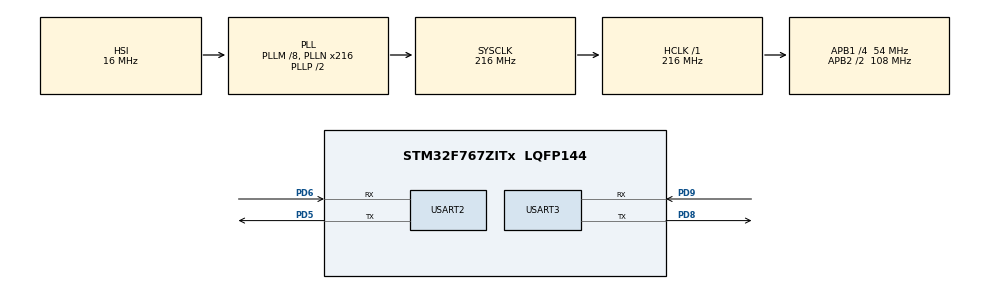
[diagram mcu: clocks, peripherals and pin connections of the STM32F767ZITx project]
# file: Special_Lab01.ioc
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CORTEX_M7.default_mode_Activation=1
Mcu.Family=STM32F7
Mcu.Name=STM32F767ZITx
Mcu.Package=LQFP144
NVIC.PriorityGroup=NVIC_PRIORITYGROUP_4
NVIC.USART2_IRQn=true\:0\:0\:false\:false\:true\:true\:true\:true
NVIC.USART3_IRQn=true\:0\:0\:false\:false\:true\:true\:true\:true
PD5.Mode=Asynchronous
PD5.Signal=USART2_TX
PD6.Mode=Asynchronous
PD6.Signal=USART2_RX
PD8.Mode=Asynchronous
PD8.Signal=USART3_TX
PD9.Mode=Asynchronous
PD9.Signal=USART3_RX
ProjectManager.HeapSize=0x200
ProjectManager.StackSize=0x400
ProjectManager.TargetToolchain=STM32CubeIDE
RCC.AHBFreq_Value=216000000
RCC.APB1CLKDivider=RCC_HCLK_DIV4
RCC.APB1Freq_Value=54000000
RCC.APB1TimFreq_Value=108000000
RCC.APB2CLKDivider=RCC_HCLK_DIV2
RCC.APB2Freq_Value=108000000
RCC.APB2TimFreq_Value=216000000
RCC.CortexFreq_Value=216000000
RCC.HCLKFreq_Value=216000000
RCC.HSE_VALUE=25000000
RCC.HSI_VALUE=16000000
RCC.LSE_VALUE=32768
RCC.PLLM=8
RCC.PLLN=216
RCC.SYSCLKFreq_VALUE=216000000
RCC.SYSCLKSource=RCC_SYSCLKSOURCE_PLLCLK
RCC.USBFreq_Value=216000000
RCC.VCOOutputFreq_Value=432000000
USART2.VirtualMode-Asynchronous=VM_ASYNC
USART3.VirtualMode-Asynchronous=VM_ASYNC
board=custom

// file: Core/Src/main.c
/* USER CODE BEGIN Header */
/**
  ******************************************************************************
  * @file           : main.c
  * @brief          : Main program body
  ******************************************************************************
  * @attention
  *
  * Copyright (c) 2024 STMicroelectronics.
  * All rights reserved.
  *
  * This software is licensed under terms that can be found in the LICENSE file
  * in the root directory of this software component.
  * If no LICENSE file comes with this software, it is provided AS-IS.
  *
  ******************************************************************************
  */
/* USER CODE END Header */
#include "main.h"
#include "usart.h"
#include "gpio.h"

/* USER CODE BEGIN Includes */
#include "string.h"
#include "stdbool.h"
#include "stdio.h"
/* USER CODE END Includes */

void SystemClock_Config(void);
static void MPU_Config(void);

/* USER CODE BEGIN 0 */
char startText[] = "Man from U.A.R.T.1!\r\nQuit PRESS q\r\n";
char quitText[] = "Quit Already";
char nameInput[] = "\tName: ";
char newline[] = "\r\n";
char isReadyText[] = " is ready";
char arrowText[] = " => ";
char collonText[] = " : ";

char receiveBuffer[100];
char inputBuffer[100];
char ch;
char ch1;
char myName[100];
char yourName[100];
bool alreadyEnterName = false;
bool alreadyReceiveName = false;

/* USER CODE END 0 */

int main(void)
{

  /* MPU Configuration--------------------------------------------------------*/
	MPU_Config();

  /* MCU Configuration--------------------------------------------------------*/

  /* Reset of all peripherals, Initializes the Flash interface and the Systick. */
  HAL_Init();

  /* Configure the system clock */
  SystemClock_Config();

  /* Initialize all configured peripherals */
  MX_GPIO_Init();
  MX_USART3_UART_Init();
  MX_USART2_UART_Init();
  /* USER CODE BEGIN 2 */

  HAL_UART_Transmit(&huart3, (uint8_t *) startText, strlen(startText), 1000);
  HAL_UART_Transmit(&huart3, (uint8_t *) nameInput, strlen(nameInput), 1000);
  HAL_UART_Receive_IT(&huart3, (uint8_t *) &ch, 1);
  /* USER CODE END 2 */

  /* Infinite loop */
  while (1)
  {

  }
}

void SystemClock_Config(void)
{
  RCC_OscInitTypeDef RCC_OscInitStruct = {0};
  RCC_ClkInitTypeDef RCC_ClkInitStruct = {0};

  /** Configure the main internal regulator output voltage
  */
  __HAL_RCC_PWR_CLK_ENABLE();
  __HAL_PWR_VOLTAGESCALING_CONFIG(PWR_REGULATOR_VOLTAGE_SCALE1);

  /** Initializes the RCC Oscillators according to the specified parameters
  * in the RCC_OscInitTypeDef structure.
  */
  RCC_OscInitStruct.OscillatorType = RCC_OSCILLATORTYPE_HSI;
  RCC_OscInitStruct.HSIState = RCC_HSI_ON;
  RCC_OscInitStruct.HSICalibrationValue = RCC_HSICALIBRATION_DEFAULT;
  RCC_OscInitStruct.PLL.PLLState = RCC_PLL_ON;
  RCC_OscInitStruct.PLL.PLLSource = RCC_PLLSOURCE_HSI;
  RCC_OscInitStruct.PLL.PLLM = 8;
  RCC_OscInitStruct.PLL.PLLN = 216;
  RCC_OscInitStruct.PLL.PLLP = RCC_PLLP_DIV2;
  RCC_OscInitStruct.PLL.PLLQ = 2;
  RCC_OscInitStruct.PLL.PLLR = 2;
  if (HAL_RCC_OscConfig(&RCC_OscInitStruct) != HAL_OK)
  {
    Error_Handler();
  }

  /** Activate the Over-Drive mode
  */
  if (HAL_PWREx_EnableOverDrive() != HAL_OK)
  {
    Error_Handler();
  }

  /** Initializes the CPU, AHB and APB buses clocks
  */
  RCC_ClkInitStruct.ClockType = RCC_CLOCKTYPE_HCLK|RCC_CLOCKTYPE_SYSCLK
                              |RCC_CLOCKTYPE_PCLK1|RCC_CLOCKTYPE_PCLK2;
  RCC_ClkInitStruct.SYSCLKSource = RCC_SYSCLKSOURCE_PLLCLK;
  RCC_ClkInitStruct.AHBCLKDivider = RCC_SYSCLK_DIV1;
  RCC_ClkInitStruct.APB1CLKDivider = RCC_HCLK_DIV4;
  RCC_ClkInitStruct.APB2CLKDivider = RCC_HCLK_DIV2;

  if (HAL_RCC_ClockConfig(&RCC_ClkInitStruct, FLASH_LATENCY_7) != HAL_OK)
  {
    Error_Handler();
  }
}

/* USER CODE BEGIN 4 */
void HAL_UART_RxCpltCallback(UART_HandleTypeDef *huart)
{
	if (huart->Instance == USART3) {
		if (!alreadyEnterName) {
			if (ch == '\n') {
				myName[strlen(myName)] = ch;
				alreadyEnterName = true;
				HAL_UART_Transmit(&huart2, (uint8_t *) myName, strlen(myName), 1000);

				if (strcmp(myName, "q\r\n") == 0) {
					HAL_UART_Transmit(&huart3, (uint8_t *) &quitText, strlen(quitText), 1000);
					return 0;
				}

				myName[strlen(myName) - 1] = '\0';
				myName[strlen(myName) - 1] = '\0';

				HAL_UART_Receive_IT(&huart2, (uint8_t *) &ch1, 1);
			}
			else if (ch == 0x08 && strlen(myName) > 0) {
				// handle delete case
			} else {
				myName[strlen(myName)] = ch;

				HAL_UART_Transmit(&huart3, (uint8_t *) &ch, 1, 1000);
				HAL_UART_Receive_IT(&huart3, (uint8_t *) &ch, 1);

			}
		} else if (alreadyEnterName) {
			if (ch == '\n') {
				inputBuffer[strlen(inputBuffer)] = ch;
				HAL_UART_Transmit(&huart2, (uint8_t *) inputBuffer, strlen(inputBuffer), 1000);

				if (strcmp(inputBuffer, "q\r\n") == 0) {
					HAL_UART_Transmit(&huart3, (uint8_t *) &quitText, strlen(quitText), 1000);
					return 0;
				}

				memset(inputBuffer, '\0', sizeof(inputBuffer));

				HAL_UART_Transmit(&huart3, (uint8_t *) "\t", strlen("\t"), 1000);
				HAL_UART_Transmit(&huart3, (uint8_t *) yourName, strlen(yourName), 1000);
				HAL_UART_Transmit(&huart3, (uint8_t *) collonText, strlen(collonText), 1000);

				HAL_UART_Receive_IT(&huart2, (uint8_t *) &ch1, 1);
			} else if (ch == 0x08) {
				// handle delete case
			} else {
				inputBuffer[strlen(inputBuffer)] = ch;
				HAL_UART_Transmit(&huart3, (uint8_t *) &ch, 1, 1000);
				HAL_UART_Receive_IT(&huart3, (uint8_t *) &ch, 1);

			}
		}
	}

	else if (huart->Instance == USART2) {
		if (!alreadyReceiveName) {
			if (ch1 == '\r') {
				alreadyReceiveName = true;
				if (strcmp(yourName, "q") == 0) {
					HAL_UART_Transmit(&huart3, (uint8_t *) &quitText, strlen(quitText), 1000);
					return 0;
				}

				HAL_UART_Transmit(&huart3, (uint8_t *) "\t", strlen("\t"), 1000);
				HAL_UART_Transmit(&huart3, (uint8_t *) yourName, strlen(yourName), 1000);
				HAL_UART_Transmit(&huart3, (uint8_t *) isReadyText, strlen(isReadyText), 1000);

				HAL_UART_Transmit(&huart3, (uint8_t *) "\r\n\t", strlen("\r\n\t"), 1000);
				HAL_UART_Transmit(&huart3, (uint8_t *) myName, strlen(myName), 1000);
				HAL_UART_Transmit(&huart3, (uint8_t *) arrowText, strlen(arrowText), 1000);

				HAL_UART_Receive_IT(&huart3, (uint8_t *) &ch, 1);
			} else {
				yourName[strlen(yourName)] = ch1;
				HAL_UART_Receive_IT(&huart2, (uint8_t *) &ch1, 1);
			}
		} else if (alreadyReceiveName) {
			if (ch1 == '\r') {
				if (strcmp(receiveBuffer, "q") == 0) {
					HAL_UART_Transmit(&huart3, (uint8_t *) "\r\nQuit Already", strlen("\r\nQuit Already"), 1000);
					return 0;
				}
				HAL_UART_Transmit(&huart3, (uint8_t *) receiveBuffer, strlen(receiveBuffer), 1000);
				memset(receiveBuffer, '\0', sizeof(receiveBuffer));

				HAL_UART_Transmit(&huart3, (uint8_t *) "\r\n\t", strlen("\r\n\t"), 1000);
				HAL_UART_Transmit(&huart3, (uint8_t *) myName, strlen(myName), 1000);
				HAL_UART_Transmit(&huart3, (uint8_t *) arrowText, strlen(arrowText), 1000);

				HAL_UART_Receive_IT(&huart3, (uint8_t *) &ch, 1);
			} else {
				receiveBuffer[strlen(receiveBuffer)] = ch1;
				HAL_UART_Receive_IT(&huart2, (uint8_t *) &ch1, 1);
			}

		}
	}

}

//void HAL_UART_TxCpltCallback(UART_HandleTypeDef *huart) {
//
//}

/* USER CODE END 4 */

 /* MPU Configuration */

void MPU_Config(void)
{
  MPU_Region_InitTypeDef MPU_InitStruct = {0};

  /* Disables the MPU */
  HAL_MPU_Disable();

  /** Initializes and configures the Region and the memory to be protected
  */
  MPU_InitStruct.Enable = MPU_REGION_ENABLE;
  MPU_InitStruct.Number = MPU_REGION_NUMBER0;
  MPU_InitStruct.BaseAddress = 0x0;
  MPU_InitStruct.Size = MPU_REGION_SIZE_4GB;
  MPU_InitStruct.SubRegionDisable = 0x87;
  MPU_InitStruct.TypeExtField = MPU_TEX_LEVEL0;
  MPU_InitStruct.AccessPermission = MPU_REGION_NO_ACCESS;
  MPU_InitStruct.DisableExec = MPU_INSTRUCTION_ACCESS_DISABLE;
  MPU_InitStruct.IsShareable = MPU_ACCESS_SHAREABLE;
  MPU_InitStruct.IsCacheable = MPU_ACCESS_NOT_CACHEABLE;
  MPU_InitStruct.IsBufferable = MPU_ACCESS_NOT_BUFFERABLE;

  HAL_MPU_ConfigRegion(&MPU_InitStruct);
  /* Enables the MPU */
  HAL_MPU_Enable(MPU_PRIVILEGED_DEFAULT);

}

void Error_Handler(void)
{
  __disable_irq();
  while (1)
  {
  }
}
